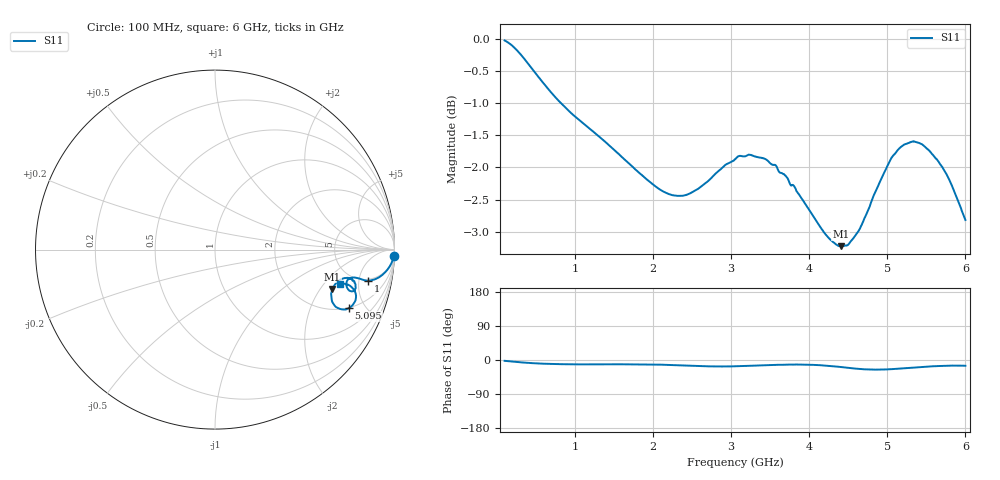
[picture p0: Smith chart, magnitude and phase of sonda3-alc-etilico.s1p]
! COPPER MOUNTAIN TECHNOLOGIES, R60, 23103002, 24.3.3/3.0
! Date: 24/6/2026 15:46:39
! Data: Format [Calibration Info]
! Frequency		S11: Mag/Ang F1
# HZ S MA R 50
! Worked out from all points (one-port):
!   1181 points, 100 MHz to 6 GHz, reference 50 ohm
!   lowest |S11| = -3.2 dB at 4.405 GHz (marker M1), VSWR 5.45, Z = 156 - j131 ohm
!   |S11| at or under -10 dB: nowhere
!   S11 on the Smith chart (normalised r, x): 100 MHz: 5, -52; 1 GHz: 4.69, -6.70; 5.095 GHz: 1.98, -3.81; 6 GHz: 3.74, -2.98
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1e8  0.9966 -2.2
2.95e8  0.9737 -6.0
4.55e8  0.947 -8.3
6.3e8  0.9182 -10.0
8.4e8  0.8886 -11.1
1e9  0.8702 -11.5
1.575e9  0.8121 -11.3
1.98e9  0.7725 -11.7
2.315e9  0.755 -13.9
2.56e9  0.7635 -15.9
2.775e9  0.7827 -17.0
3.05e9  0.8061 -16.7
3.24e9  0.8124 -15.3
3.435e9  0.8063 -13.9
3.79e9  0.7699 -12.2
3.935e9  0.7468 -12.2
4.115e9  0.7183 -13.4
4.405e9  0.6901 -18.6
4.525e9  0.6952 -21.4
4.665e9  0.7157 -24.0
4.815e9  0.7528 -25.4
4.98e9  0.7913 -25.0
5.095e9  0.8135 -23.6
5.265e9  0.8296 -21.1
5.445e9  0.8279 -18.3
5.635e9  0.8058 -16.1
5.835e9  0.7667 -14.8
6e9  0.7232 -15.2
